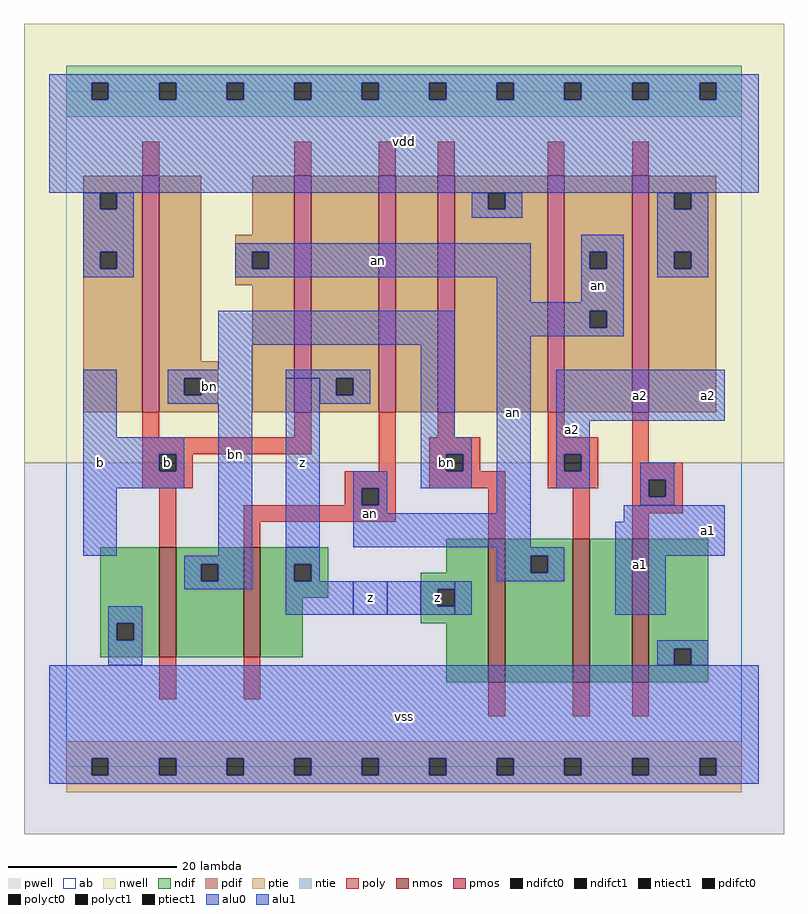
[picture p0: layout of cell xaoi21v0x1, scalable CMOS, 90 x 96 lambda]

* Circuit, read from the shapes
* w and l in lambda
.subckt xaoi21v0x1 a1 a2 an b bn vdd vss z
M1 bn b vss vss nfet w=13 l=2
M2 z an bn vss nfet w=13 l=2
M3 an bn z vss nfet w=17 l=2
M4 n1 a2 an vss nfet w=17 l=2
M5 vss a1 n1 vss nfet w=17 l=2
M6 bn b vdd vdd pfet w=28 l=2
M7 z b an vdd pfet w=28 l=2
M8 n2 an z vdd pfet w=28 l=2
M9 vdd bn n2 vdd pfet w=28 l=2
M10 an a2 vdd vdd pfet w=28 l=2
M11 vdd a1 an vdd pfet w=28 l=2
.ends

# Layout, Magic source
magic
tech scmos
<< ab >>
rect 0 0 80 80
<< nwell >>
rect -5 36 85 88
<< pwell >>
rect -5 -8 85 36
<< poly >>
rect 9 70 11 74
rect 27 70 29 74
rect 37 70 39 74
rect 44 70 46 74
rect 57 70 59 74
rect 67 70 69 74
rect 9 39 11 42
rect 27 39 29 42
rect 9 37 29 39
rect 9 35 11 37
rect 13 35 15 37
rect 37 35 39 42
rect 44 39 46 42
rect 57 39 59 42
rect 9 33 15 35
rect 33 33 39 35
rect 43 37 49 39
rect 43 35 45 37
rect 47 35 49 37
rect 57 37 63 39
rect 57 35 59 37
rect 61 35 63 37
rect 43 33 52 35
rect 57 33 63 35
rect 67 36 69 42
rect 67 34 73 36
rect 11 26 13 33
rect 33 31 35 33
rect 37 31 39 33
rect 21 29 39 31
rect 21 26 23 29
rect 50 27 52 33
rect 60 27 62 33
rect 67 32 69 34
rect 71 32 73 34
rect 67 30 73 32
rect 67 27 69 30
rect 11 8 13 13
rect 21 8 23 13
rect 50 6 52 10
rect 60 6 62 10
rect 67 6 69 10
<< ndif >>
rect 4 17 11 26
rect 4 15 6 17
rect 8 15 11 17
rect 4 13 11 15
rect 13 24 21 26
rect 13 22 16 24
rect 18 22 21 24
rect 13 13 21 22
rect 23 24 31 26
rect 23 22 27 24
rect 29 22 31 24
rect 45 23 50 27
rect 23 20 31 22
rect 42 21 50 23
rect 23 13 28 20
rect 42 19 44 21
rect 46 19 50 21
rect 42 17 50 19
rect 45 10 50 17
rect 52 25 60 27
rect 52 23 55 25
rect 57 23 60 25
rect 52 10 60 23
rect 62 10 67 27
rect 69 14 76 27
rect 69 12 72 14
rect 74 12 76 14
rect 69 10 76 12
<< pdif >>
rect 2 68 9 70
rect 2 66 4 68
rect 6 66 9 68
rect 2 61 9 66
rect 2 59 4 61
rect 6 59 9 61
rect 2 42 9 59
rect 11 48 16 70
rect 22 63 27 70
rect 20 61 27 63
rect 20 59 22 61
rect 24 59 27 61
rect 20 57 27 59
rect 11 46 18 48
rect 11 44 14 46
rect 16 44 18 46
rect 11 42 18 44
rect 22 42 27 57
rect 29 46 37 70
rect 29 44 32 46
rect 34 44 37 46
rect 29 42 37 44
rect 39 42 44 70
rect 46 68 57 70
rect 46 66 50 68
rect 52 66 57 68
rect 46 42 57 66
rect 59 61 67 70
rect 59 59 62 61
rect 64 59 67 61
rect 59 54 67 59
rect 59 52 62 54
rect 64 52 67 54
rect 59 42 67 52
rect 69 68 77 70
rect 69 66 72 68
rect 74 66 77 68
rect 69 61 77 66
rect 69 59 72 61
rect 74 59 77 61
rect 69 42 77 59
<< alu1 >>
rect -2 81 82 82
rect -2 79 3 81
rect 5 79 11 81
rect 13 79 19 81
rect 21 79 27 81
rect 29 79 35 81
rect 37 79 43 81
rect 45 79 51 81
rect 53 79 59 81
rect 61 79 67 81
rect 69 79 75 81
rect 77 79 82 81
rect -2 68 82 79
rect 2 39 6 47
rect 2 37 14 39
rect 2 35 11 37
rect 13 35 14 37
rect 2 33 14 35
rect 2 25 6 33
rect 26 26 30 46
rect 58 41 78 47
rect 58 37 62 41
rect 58 35 59 37
rect 61 35 62 37
rect 58 33 62 35
rect 66 29 78 31
rect 65 25 78 29
rect 34 18 38 22
rect 42 21 46 22
rect 42 19 44 21
rect 42 18 46 19
rect 65 18 71 25
rect -2 1 82 12
rect -2 -1 3 1
rect 5 -1 11 1
rect 13 -1 19 1
rect 21 -1 27 1
rect 29 -1 35 1
rect 37 -1 43 1
rect 45 -1 51 1
rect 53 -1 59 1
rect 61 -1 67 1
rect 69 -1 75 1
rect 77 -1 82 1
rect -2 -2 82 -1
<< ptie >>
rect 0 1 80 3
rect 0 -1 3 1
rect 5 -1 11 1
rect 13 -1 19 1
rect 21 -1 27 1
rect 29 -1 35 1
rect 37 -1 43 1
rect 45 -1 51 1
rect 53 -1 59 1
rect 61 -1 67 1
rect 69 -1 75 1
rect 77 -1 80 1
rect 0 -3 80 -1
<< ntie >>
rect 0 81 80 83
rect 0 79 3 81
rect 5 79 11 81
rect 13 79 19 81
rect 21 79 27 81
rect 29 79 35 81
rect 37 79 43 81
rect 45 79 51 81
rect 53 79 59 81
rect 61 79 67 81
rect 69 79 75 81
rect 77 79 80 81
rect 0 77 80 79
<< nmos >>
rect 11 13 13 26
rect 21 13 23 26
rect 50 10 52 27
rect 60 10 62 27
rect 67 10 69 27
<< pmos >>
rect 9 42 11 70
rect 27 42 29 70
rect 37 42 39 70
rect 44 42 46 70
rect 57 42 59 70
rect 67 42 69 70
<< polyct0 >>
rect 45 35 47 37
rect 35 31 37 33
rect 69 32 71 34
<< polyct1 >>
rect 11 35 13 37
rect 59 35 61 37
<< ndifct0 >>
rect 6 15 8 17
rect 16 22 18 24
rect 27 22 29 24
rect 55 23 57 25
rect 72 12 74 14
<< ndifct1 >>
rect 44 19 46 21
<< ntiect1 >>
rect 3 79 5 81
rect 11 79 13 81
rect 19 79 21 81
rect 27 79 29 81
rect 35 79 37 81
rect 43 79 45 81
rect 51 79 53 81
rect 59 79 61 81
rect 67 79 69 81
rect 75 79 77 81
<< ptiect1 >>
rect 3 -1 5 1
rect 11 -1 13 1
rect 19 -1 21 1
rect 27 -1 29 1
rect 35 -1 37 1
rect 43 -1 45 1
rect 51 -1 53 1
rect 59 -1 61 1
rect 67 -1 69 1
rect 75 -1 77 1
<< pdifct0 >>
rect 4 66 6 68
rect 4 59 6 61
rect 22 59 24 61
rect 14 44 16 46
rect 32 44 34 46
rect 50 66 52 68
rect 62 59 64 61
rect 62 52 64 54
rect 72 66 74 68
rect 72 59 74 61
<< alu0 >>
rect 2 66 4 68
rect 6 66 8 68
rect 2 61 8 66
rect 48 66 50 68
rect 52 66 54 68
rect 48 65 54 66
rect 70 66 72 68
rect 74 66 76 68
rect 2 59 4 61
rect 6 59 8 61
rect 2 58 8 59
rect 20 61 55 62
rect 20 59 22 61
rect 24 59 55 61
rect 20 58 55 59
rect 51 55 55 58
rect 61 61 66 63
rect 61 59 62 61
rect 64 59 66 61
rect 61 55 66 59
rect 70 61 76 66
rect 70 59 72 61
rect 74 59 76 61
rect 70 58 76 59
rect 51 54 66 55
rect 18 50 46 54
rect 18 47 22 50
rect 12 46 22 47
rect 12 44 14 46
rect 16 44 22 46
rect 12 43 22 44
rect 18 25 22 43
rect 14 24 22 25
rect 14 22 16 24
rect 18 22 22 24
rect 14 21 22 22
rect 26 46 36 47
rect 30 44 32 46
rect 34 44 36 46
rect 30 43 36 44
rect 42 39 46 50
rect 51 52 62 54
rect 64 52 66 54
rect 51 51 66 52
rect 42 37 48 39
rect 42 35 45 37
rect 47 35 48 37
rect 34 33 38 35
rect 42 33 48 35
rect 34 31 35 33
rect 37 31 38 33
rect 34 30 38 31
rect 51 30 55 51
rect 68 34 72 36
rect 68 32 69 34
rect 71 32 72 34
rect 68 31 72 32
rect 34 26 55 30
rect 26 24 30 26
rect 26 22 27 24
rect 29 22 30 24
rect 51 25 59 26
rect 51 23 55 25
rect 57 23 59 25
rect 51 22 59 23
rect 5 17 9 19
rect 26 18 34 22
rect 38 18 42 22
rect 46 18 48 22
rect 5 15 6 17
rect 8 15 9 17
rect 5 12 9 15
rect 70 14 76 15
rect 70 12 72 14
rect 74 12 76 14
<< labels >>
rlabel alu0 36 30 36 30 6 an
rlabel alu0 20 37 20 37 6 bn
rlabel alu0 17 45 17 45 6 bn
rlabel alu0 45 36 45 36 6 bn
rlabel alu0 37 60 37 60 6 an
rlabel alu0 53 42 53 42 6 an
rlabel alu0 63 57 63 57 6 an
rlabel alu1 4 36 4 36 6 b
rlabel polyct1 12 36 12 36 6 b
rlabel alu1 36 20 36 20 6 z
rlabel alu1 28 36 28 36 6 z
rlabel alu1 40 6 40 6 6 vss
rlabel alu1 44 20 44 20 6 z
rlabel alu1 40 74 40 74 6 vdd
rlabel alu1 76 28 76 28 6 a1
rlabel alu1 68 24 68 24 6 a1
rlabel alu1 68 44 68 44 6 a2
rlabel alu1 76 44 76 44 6 a2
rlabel alu1 60 40 60 40 6 a2
<< end >>
